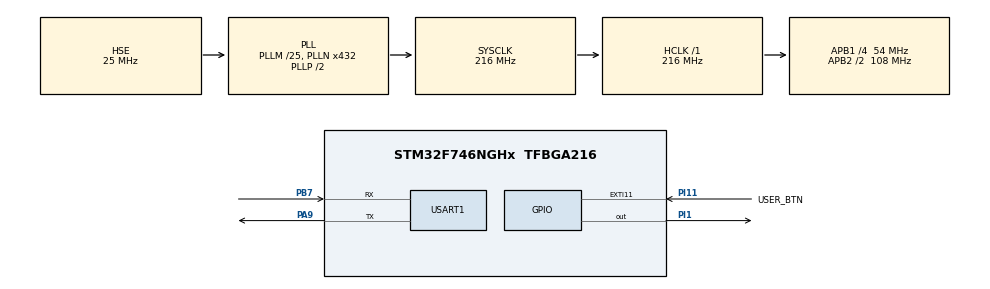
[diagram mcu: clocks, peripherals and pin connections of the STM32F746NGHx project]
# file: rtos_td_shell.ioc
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Mcu.Family=STM32F7
Mcu.Name=STM32F746NGHx
Mcu.Package=TFBGA216
NVIC.PriorityGroup=NVIC_PRIORITYGROUP_4
NVIC.TIM6_DAC_IRQn=true\:15\:0\:false\:false\:true\:false\:true\:true
NVIC.TimeBase=TIM6_DAC_IRQn
NVIC.TimeBaseIP=TIM6
PA13.Mode=Serial_Wire
PA13.Signal=SYS_JTMS-SWDIO
PA14.Mode=Serial_Wire
PA14.Signal=SYS_JTCK-SWCLK
PA9.Mode=Asynchronous
PA9.Signal=USART1_TX
PB7.Mode=Asynchronous
PB7.Signal=USART1_RX
PH0/OSC_IN.Mode=HSE-External-Oscillator
PH0/OSC_IN.Signal=RCC_OSC_IN
PH1/OSC_OUT.Mode=HSE-External-Oscillator
PH1/OSC_OUT.Signal=RCC_OSC_OUT
PI1.Signal=GPIO_Output
PI11.GPIO_Label=USER_BTN
PI11.Signal=GPXTI11
ProjectManager.HeapSize=0x200
ProjectManager.StackSize=0x400
ProjectManager.TargetToolchain=STM32CubeIDE
RCC.AHBFreq_Value=216000000
RCC.APB1CLKDivider=RCC_HCLK_DIV4
RCC.APB1Freq_Value=54000000
RCC.APB1TimFreq_Value=108000000
RCC.APB2CLKDivider=RCC_HCLK_DIV2
RCC.APB2Freq_Value=108000000
RCC.APB2TimFreq_Value=216000000
RCC.CortexFreq_Value=216000000
RCC.HCLKFreq_Value=216000000
RCC.HSE_VALUE=25000000
RCC.HSI_VALUE=16000000
RCC.LSE_VALUE=32768
RCC.PLLM=25
RCC.PLLN=432
RCC.PLLSourceVirtual=RCC_PLLSOURCE_HSE
RCC.SYSCLKFreq_VALUE=216000000
RCC.SYSCLKSource=RCC_SYSCLKSOURCE_PLLCLK
RCC.USBFreq_Value=216000000
RCC.VCOOutputFreq_Value=432000000
USART1.VirtualMode-Asynchronous=VM_ASYNC
VP_SYS_VS_tim6.Mode=TIM6
board=STM32F746G-DISCO

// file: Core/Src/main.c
/* USER CODE BEGIN Header */
/**
 ******************************************************************************
 * @file           : main.c
 * @brief          : Main program body
 ******************************************************************************
 * @attention
 *
 * Copyright (c) 2022 STMicroelectronics.
 * All rights reserved.
 *
 * This software is licensed under terms that can be found in the LICENSE file
 * in the root directory of this software component.
 * If no LICENSE file comes with this software, it is provided AS-IS.
 *
 ******************************************************************************
 */
/* USER CODE END Header */
#include "main.h"
#include "usart.h"
#include "gpio.h"

/* USER CODE BEGIN Includes */
#include <stdio.h>
#include "shell.h"
#include "drv_uart1.h"
/* USER CODE END Includes */

/* USER CODE BEGIN PV */
h_shell_t h_shell;
/* USER CODE END PV */

void SystemClock_Config(void);

/* USER CODE BEGIN 0 */
int __io_putchar(int ch)
{
	HAL_UART_Transmit(&huart1, (uint8_t*)&ch, 1, HAL_MAX_DELAY);

	return ch;
}

int fonction(h_shell_t * h_shell, int argc, char ** argv)
{
	int size = snprintf (h_shell->print_buffer, BUFFER_SIZE, "Je suis une fonction bidon\r\n");
	h_shell->drv.transmit(h_shell->print_buffer, size);

	return 0;
}
/* USER CODE END 0 */

int main(void)
{

  /* MCU Configuration--------------------------------------------------------*/

  /* Reset of all peripherals, Initializes the Flash interface and the Systick. */
  HAL_Init();

  /* Configure the system clock */
  SystemClock_Config();

  /* Initialize all configured peripherals */
  MX_GPIO_Init();
  MX_USART1_UART_Init();
  /* USER CODE BEGIN 2 */
	h_shell.drv.receive = drv_uart1_receive;
	h_shell.drv.transmit = drv_uart1_transmit;

	shell_init(&h_shell);
	shell_add(&h_shell, 'f', fonction, "Une fonction inutile");
	shell_run(&h_shell);
  /* USER CODE END 2 */

  /* Infinite loop */
	while (1)
	{

	}
}

void SystemClock_Config(void)
{
  RCC_OscInitTypeDef RCC_OscInitStruct = {0};
  RCC_ClkInitTypeDef RCC_ClkInitStruct = {0};

  /** Configure the main internal regulator output voltage
  */
  __HAL_RCC_PWR_CLK_ENABLE();
  __HAL_PWR_VOLTAGESCALING_CONFIG(PWR_REGULATOR_VOLTAGE_SCALE1);

  /** Initializes the RCC Oscillators according to the specified parameters
  * in the RCC_OscInitTypeDef structure.
  */
  RCC_OscInitStruct.OscillatorType = RCC_OSCILLATORTYPE_HSE;
  RCC_OscInitStruct.HSEState = RCC_HSE_ON;
  RCC_OscInitStruct.PLL.PLLState = RCC_PLL_ON;
  RCC_OscInitStruct.PLL.PLLSource = RCC_PLLSOURCE_HSE;
  RCC_OscInitStruct.PLL.PLLM = 25;
  RCC_OscInitStruct.PLL.PLLN = 432;
  RCC_OscInitStruct.PLL.PLLP = RCC_PLLP_DIV2;
  RCC_OscInitStruct.PLL.PLLQ = 2;
  if (HAL_RCC_OscConfig(&RCC_OscInitStruct) != HAL_OK)
  {
    Error_Handler();
  }

  /** Activate the Over-Drive mode
  */
  if (HAL_PWREx_EnableOverDrive() != HAL_OK)
  {
    Error_Handler();
  }

  /** Initializes the CPU, AHB and APB buses clocks
  */
  RCC_ClkInitStruct.ClockType = RCC_CLOCKTYPE_HCLK|RCC_CLOCKTYPE_SYSCLK
                              |RCC_CLOCKTYPE_PCLK1|RCC_CLOCKTYPE_PCLK2;
  RCC_ClkInitStruct.SYSCLKSource = RCC_SYSCLKSOURCE_PLLCLK;
  RCC_ClkInitStruct.AHBCLKDivider = RCC_SYSCLK_DIV1;
  RCC_ClkInitStruct.APB1CLKDivider = RCC_HCLK_DIV4;
  RCC_ClkInitStruct.APB2CLKDivider = RCC_HCLK_DIV2;

  if (HAL_RCC_ClockConfig(&RCC_ClkInitStruct, FLASH_LATENCY_7) != HAL_OK)
  {
    Error_Handler();
  }
}

void HAL_TIM_PeriodElapsedCallback(TIM_HandleTypeDef *htim)
{
  if (htim->Instance == TIM6) {
    HAL_IncTick();
  }
}

void Error_Handler(void)
{
	__disable_irq();
	while (1)
	{
	}
}
